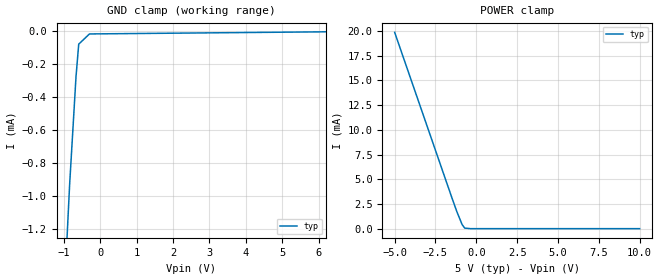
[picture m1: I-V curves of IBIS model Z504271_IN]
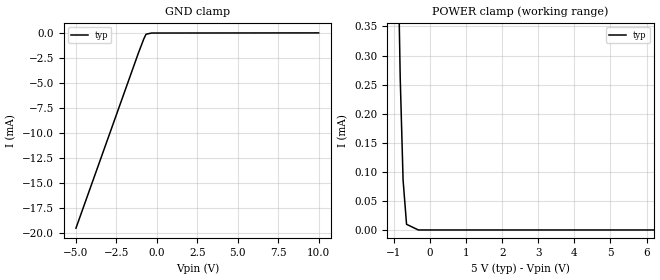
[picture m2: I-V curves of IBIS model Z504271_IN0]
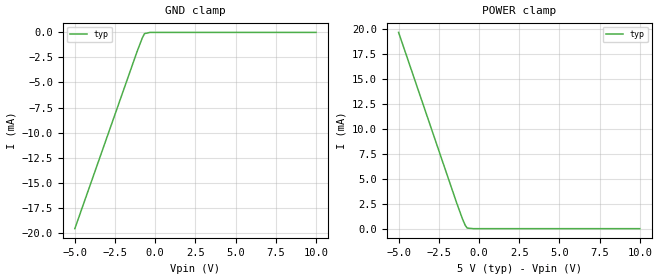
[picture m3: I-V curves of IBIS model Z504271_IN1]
| YOU ARE ONLY AUTHORIZED TO USE THIS SOFTWARE
| ACCORDING TO LICENSOR'S LICENSE RESTRICTIONS.
[IBIS Ver] 3.1
[File Name] mc74hc597d.ibs
[File Rev] 2.0
[Source] Measured and created by ICX Technology
[Date] Friday 7/14/00 9:08:10 AM
[Copyright]
| (C) COPYRIGHT 1993-2000
| MENTOR GRAPHICS CORPORATION
| ICX STANDARD LIBRARY, ICX PROJECT MODELING,
| ICX CUSTOM MODELING, ICX VENDOR MODEL
| ALL RIGHTS RESERVED.
| THE FOLLOWING ARE TRADEMARKS OR SERVICE MARKS OF
| MENTOR GRAPHICS CORPORATION:ICX (R), ICX STANDARD
| LIBRARY(R), ICX PROJECT MODELING(R), ICX CUSTOM
| MODELING(R), qualityIBIS(TM), MODELVIEWER(TM),
| AND MODELEDITOR(TM)
| ALL COPIES OF SOFTWARE, INCLUDING BUT NOT LIMITED TO
| ANY MODIFICATIONS, ENHANCEMENTS OR DERIVATIVE WORKS,
| MUST CONTAIN ALL MENTOR GRAPHICS CORPORATION'S
| NOTICES AND LEGENDS, INCLUDING THOSE EMBEDDED IN
| SOFTWARE AND THOSE AFFIXED TO SOFTWARE MEDIUM
| AND CONTAINER, AS RECEIVED FROM MENTOR GRAPHICS
| CORPORATION.
|  ZAP Model Builder 2.7
[Component] MC74HC597D
[Manufacturer] OnSemiconductor
[Package]
| variable   typ   min   max
R_pkg  .156ohms NA NA
L_pkg  3.148nH NA NA
C_pkg  .388pF NA NA
[Pin] signal_name  model_name  R_pin  L_pin C_pin
1 D1 Z504271_IN .162 3.798n .418p
2 D2 Z504271_IN .158 3.358n .398p
3 D3 Z504271_IN .154 2.928n .378p
4 D4 Z504271_IN .15 2.508n .358p
5 D5 Z504271_IN .15 2.508n .358p
6 D6 Z504271_IN .154 2.928n .378p
7 D7 Z504271_IN .158 3.358n .398p
8 GND GND .162 3.798n .418p
9 Q7 Z504271_OUT .162 3.798n .418p
10 _MR Z504271_IN0 .158 3.358n .398p
11 SHCP Z504271_IN1 .154 2.928n .378p
12 STCP Z504271_IN2 .15 2.508n .358p
13 _PL Z504271_IN3 .15 2.508n .358p
14 DS Z504271_IN4 .154 2.928n .378p
15 D0 Z504271_IN .158 3.358n .398p
16 VCC POWER .162 3.798n .418p
| Models and submodels in the file (7): Z504271_IN (Input), Z504271_IN0 (Input), Z504271_IN1 (Input), Z504271_IN2 (Input), Z504271_IN3 (Input), Z504271_IN4 (Input), Z504271_OUT (Output)
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| (C) COPYRIGHT 1993-2000
| MENTOR GRAPHICS CORPORATION
| ICX STANDARD LIBRARY, ICX PROJECT MODELING,
| ICX CUSTOM MODELING, ICX VENDOR MODEL
| ALL RIGHTS RESERVED.
| THE FOLLOWING ARE TRADEMARKS OR SERVICE MARKS OF
| MENTOR GRAPHICS CORPORATION:ICX (R), ICX STANDARD
| LIBRARY(R), ICX PROJECT MODELING(R), ICX CUSTOM
| MODELING(R), qualityIBIS(TM), MODELVIEWER(TM),
| AND MODELEDITOR(TM)
| ALL COPIES OF SOFTWARE, INCLUDING BUT NOT LIMITED TO
| ANY MODIFICATIONS, ENHANCEMENTS OR DERIVATIVE WORKS,
| MUST CONTAIN ALL MENTOR GRAPHICS CORPORATION'S
| NOTICES AND LEGENDS, INCLUDING THOSE EMBEDDED IN
| SOFTWARE AND THOSE AFFIXED TO SOFTWARE MEDIUM
| AND CONTAINER, AS RECEIVED FROM MENTOR GRAPHICS
| CORPORATION.
| Model Application Version 1.89 2/18/99.
[Model] Z504271_IN
Model_type Input
Vinl = 1.000V
Vinh = 3.500V
C_comp 4.000pF NA NA
| variable typ   min   max
[Voltage Range] 5.000V NA NA
[GND Clamp Reference] 0.000V NA NA
[POWER Clamp Reference] 5.000V NA NA
[GND Clamp]
-5V       -19.64mA   NA         NA
-839.8mV  -927.8uA   NA         NA
-664.1mV  -273.7uA   NA         NA
-590.2mV  -79.22uA   NA         NA
-295.1mV  -17.45uA   NA         NA
10V       2.98uA     NA         NA
[POWER Clamp]
-5V       19.86mA    NA         NA
-1.67V    3.957mA    NA         NA
-1.631V   3.786mA    NA         NA
-1.596V   3.597mA    NA         NA
-1.196V   1.738mA    NA         NA
-869mV    414.9uA    NA         NA
-711mV    55.3uA     NA         NA
-355.5mV  0A         NA         NA
10V       0A         NA         NA
| (C) COPYRIGHT 1993-2000
| MENTOR GRAPHICS CORPORATION
| ICX STANDARD LIBRARY, ICX PROJECT MODELING,
| ICX CUSTOM MODELING, ICX VENDOR MODEL
| ALL RIGHTS RESERVED.
| THE FOLLOWING ARE TRADEMARKS OR SERVICE MARKS OF
| MENTOR GRAPHICS CORPORATION:ICX (R), ICX STANDARD
| LIBRARY(R), ICX PROJECT MODELING(R), ICX CUSTOM
| MODELING(R), qualityIBIS(TM), MODELVIEWER(TM),
| AND MODELEDITOR(TM)
| ALL COPIES OF SOFTWARE, INCLUDING BUT NOT LIMITED TO
| ANY MODIFICATIONS, ENHANCEMENTS OR DERIVATIVE WORKS,
| MUST CONTAIN ALL MENTOR GRAPHICS CORPORATION'S
| NOTICES AND LEGENDS, INCLUDING THOSE EMBEDDED IN
| SOFTWARE AND THOSE AFFIXED TO SOFTWARE MEDIUM
| AND CONTAINER, AS RECEIVED FROM MENTOR GRAPHICS
| CORPORATION.
| Model Application Version 1.89 2/18/99.
[Model] Z504271_IN0
Model_type Input
Vinl = 1.000V
Vinh = 3.500V
C_comp 4.000pF NA NA
| variable typ   min   max
[Voltage Range] 5.000V NA NA
[GND Clamp Reference] 0.000V NA NA
[POWER Clamp Reference] 5.000V NA NA
[GND Clamp]
-5V       -19.49mA   NA         NA
-1.13V    -1.967mA   NA         NA
-802.4mV  -585.4uA   NA         NA
-664.9mV  -130.6uA   NA         NA
-332.5mV  -13.6uA    NA         NA
10V       698.3nA    NA         NA
[POWER Clamp]
-5V       19.52mA    NA         NA
-1.406V   2.64mA     NA         NA
-1.005V   886.1uA    NA         NA
-830mV    263.1uA    NA         NA
-750mV    85.82uA    NA         NA
-654mV    9.764uA    NA         NA
-327mV    0A         NA         NA
10V       0A         NA         NA
| (C) COPYRIGHT 1993-2000
| MENTOR GRAPHICS CORPORATION
| ICX STANDARD LIBRARY, ICX PROJECT MODELING,
| ICX CUSTOM MODELING, ICX VENDOR MODEL
| ALL RIGHTS RESERVED.
| THE FOLLOWING ARE TRADEMARKS OR SERVICE MARKS OF
| MENTOR GRAPHICS CORPORATION:ICX (R), ICX STANDARD
| LIBRARY(R), ICX PROJECT MODELING(R), ICX CUSTOM
| MODELING(R), qualityIBIS(TM), MODELVIEWER(TM),
| AND MODELEDITOR(TM)
| ALL COPIES OF SOFTWARE, INCLUDING BUT NOT LIMITED TO
| ANY MODIFICATIONS, ENHANCEMENTS OR DERIVATIVE WORKS,
| MUST CONTAIN ALL MENTOR GRAPHICS CORPORATION'S
| NOTICES AND LEGENDS, INCLUDING THOSE EMBEDDED IN
| SOFTWARE AND THOSE AFFIXED TO SOFTWARE MEDIUM
| AND CONTAINER, AS RECEIVED FROM MENTOR GRAPHICS
| CORPORATION.
| Model Application Version 1.89 2/18/99.
[Model] Z504271_IN1
Model_type Input
Vinl = 1.000V
Vinh = 3.500V
C_comp 4.000pF NA NA
| variable typ   min   max
[Voltage Range] 5.000V NA NA
[GND Clamp Reference] 0.000V NA NA
[POWER Clamp Reference] 5.000V NA NA
[GND Clamp]
-5V       -19.58mA   NA         NA
-1.132V   -1.931mA   NA         NA
-803.1mV  -555.9uA   NA         NA
-664.9mV  -123.4uA   NA         NA
-332.5mV  -6.607uA   NA         NA
10V       -3.476uA   NA         NA
[POWER Clamp]
-5V       19.63mA    NA         NA
-1.406V   2.658mA    NA         NA
-1.024V   962.6uA    NA         NA
-850mV    318uA      NA         NA
-731mV    61.79uA    NA         NA
-365.5mV  0A         NA         NA
10V       0A         NA         NA
